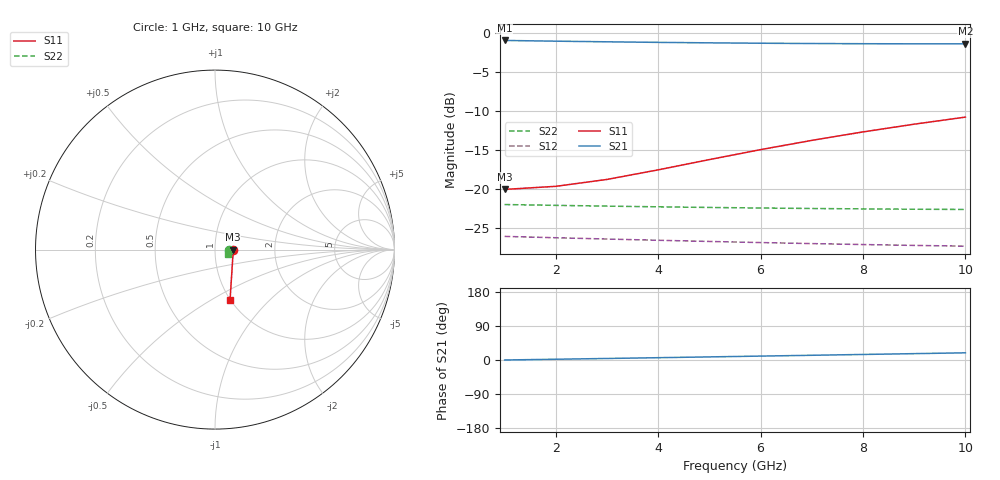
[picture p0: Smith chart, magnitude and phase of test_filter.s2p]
# GHz S RI R 50
! 2-port S-parameter test file
! freq  Re_S11  Im_S11  Re_S21  Im_S21  Re_S12  Im_S12  Re_S22  Im_S22
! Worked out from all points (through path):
!   10 points, 1 GHz to 10 GHz, reference 50 ohm
!   highest |S21| = -0.92 dB at 1 GHz (marker M1); lowest = -1.3 dB at 10 GHz (marker M2)
!   lowest |S11| = -20.0 dB at 1 GHz (marker M3), VSWR 1.22, Z = 61.1 + j0 ohm
!   |S11| at or under -10 dB: start of sweep to end of sweep
!   |S22| runs from -22.6 to -21.9 dB; largest |S21 - S12| = 0.85
1  0.1 0  0.9 0  0.05 0  0.08 0
2  0.1 -0.0309  0.89 0.0309  0.049 0.00154  0.079 -0.00247
3  0.098 -0.0618  0.88 0.0618  0.048 0.00309  0.078 -0.00494
4  0.096 -0.0927  0.87 0.0927  0.047 0.00464  0.077 -0.00742
5  0.094 -0.1236  0.86 0.1236  0.046 0.00618  0.076 -0.00989
6  0.092 -0.1545  0.85 0.1545  0.045 0.00773  0.075 -0.0124
7  0.09 -0.1854  0.84 0.1854  0.044 0.00927  0.074 -0.0148
8  0.088 -0.2163  0.83 0.2163  0.043 0.0108  0.073 -0.0173
9  0.086 -0.2472  0.82 0.2472  0.042 0.0124  0.072 -0.0198
10  0.084 -0.2781  0.81 0.2781  0.041 0.0139  0.071 -0.0222
